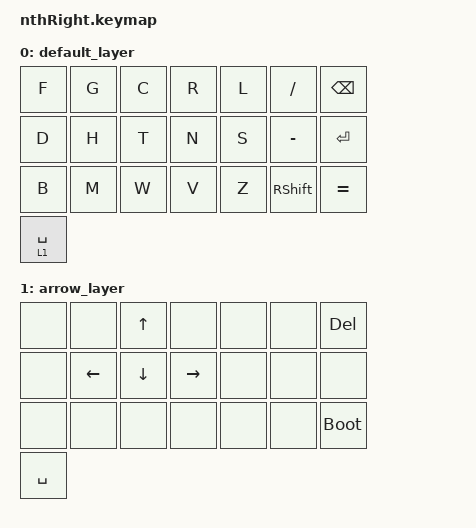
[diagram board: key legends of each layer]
/*
 * Copyright (c) 2021 The ZMK Contributors
 *
 * SPDX-License-Identifier: MIT
 */

#include <behaviors.dtsi>
#include <dt-bindings/zmk/keys.h>
#include <dt-bindings/zmk/bt.h>
#include <dt-bindings/zmk/rgb.h>
#include <dt-bindings/zmk/outputs.h>

/ {
        keymap {
                compatible = "zmk,keymap";

                default_layer {

                        bindings = <
   &kp F           &kp G        &kp C        &kp R        &kp L        &kp SLASH    &kp BSPC
   &kp D           &kp H        &kp T        &kp N        &kp S        &kp MINUS    &kp RET
   &kp B           &kp M        &kp W        &kp V        &kp Z        &kp RSHFT    &kp EQUAL
   &lt 1 SPACE
                                >;
                        };
                        
                arrow_layer {

                        bindings = <
   &none           &none        &kp UP       &none        &none        &none        &kp DEL
   &none           &kp LEFT     &kp DOWN     &kp RIGHT    &none        &none        &none
   &none           &none        &none        &none        &none        &none        &bootloader
   &kp SPACE
                                >;
                        };
        };
};
